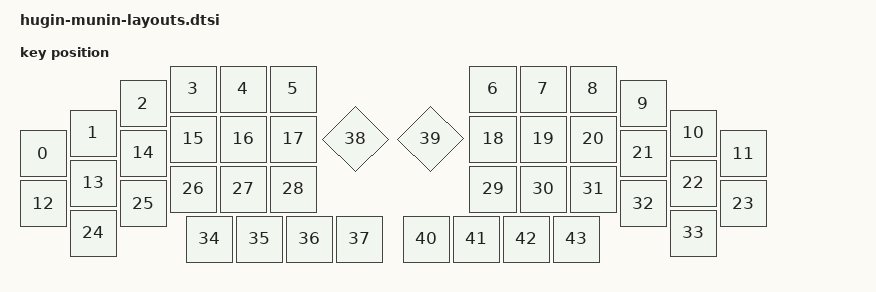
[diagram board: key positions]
#include <physical_layouts.dtsi>

/ {
    physical_layout0: physical_layout_0 {
        compatible = "zmk,physical-layout";
        display-name = "Default";

        kscan = <&kscan0>;
        transform = <&matrix_transform0>;

        keys  //                     w   h    x    y     rot    rx    ry
              // top row
            = <&key_physical_attrs 100 100    0    129       0     0     0>
            , <&key_physical_attrs 100 100  100    88       0     0     0>
            , <&key_physical_attrs 100 100  200    29       0     0     0>
            , <&key_physical_attrs 100 100  300    0       0     0     0>
            , <&key_physical_attrs 100 100  400    0       0     0     0>
            , <&key_physical_attrs 100 100  500    0       0     0     0>

            , <&key_physical_attrs 100 100  900    0       0     0     0> 
            , <&key_physical_attrs 100 100 1000    0       0     0     0>
            , <&key_physical_attrs 100 100 1100    0       0     0     0>
            , <&key_physical_attrs 100 100 1200    29       0     0     0>
            , <&key_physical_attrs 100 100 1300    88       0     0     0>
            , <&key_physical_attrs 100 100 1400    129       0     0     0>

              // home row
            , <&key_physical_attrs 100 100    0  229       0     0     0>
            , <&key_physical_attrs 100 100  100  188       0     0     0>
            , <&key_physical_attrs 100 100  200  128       0     0     0>
            , <&key_physical_attrs 100 100  300  100       0     0     0>
            , <&key_physical_attrs 100 100  400  100       0     0     0>
            , <&key_physical_attrs 100 100  500  100       0     0     0>

            , <&key_physical_attrs 100 100  900  100       0     0     0>
            , <&key_physical_attrs 100 100 1000  100       0     0     0>
            , <&key_physical_attrs 100 100 1100  100       0     0     0>
            , <&key_physical_attrs 100 100 1200  128       0     0     0>
            , <&key_physical_attrs 100 100 1300  188       0     0     0>
            , <&key_physical_attrs 100 100 1400  229       0     0     0>

              // bottom row
            //, <&key_physical_attrs 100 100    0  200       0     0     0>
            , <&key_physical_attrs 100 100  100  288       0     0     0>
            , <&key_physical_attrs 100 100  200  229       0     0     0>
            , <&key_physical_attrs 100 100  300  200       0     0     0>
            , <&key_physical_attrs 100 100  400  200       0     0     0>
            , <&key_physical_attrs 100 100  500  200       0     0     0>
            
            , <&key_physical_attrs 100 100  900  200       0     0     0>
            , <&key_physical_attrs 100 100 1000  200       0     0     0>
            , <&key_physical_attrs 100 100 1100  200       0     0     0>
            , <&key_physical_attrs 100 100 1200  229       0     0     0>
            , <&key_physical_attrs 100 100 1300  288       0     0     0>
            //, <&key_physical_attrs 100 100 1400  200       0     0     0>


            // thumb clusters
            , <&key_physical_attrs 100 100  333  300       0     0     0>
            , <&key_physical_attrs 100 100  433  300       0     0     0>
            , <&key_physical_attrs 100 100  533  300       0     0     0>
            , <&key_physical_attrs 100 100  633  300       0     0     0>
            , <&key_physical_attrs 100 100  625  100       4500     675     150> // encoder left

            , <&key_physical_attrs 100 100  775  100       (-4500)     825     150> // endoder right
            , <&key_physical_attrs 100 100 767  300       0     0     0>
            , <&key_physical_attrs 100 100 867  300       0     0     0>
            , <&key_physical_attrs 100 100 967  300       0     0     0>
            , <&key_physical_attrs 100 100 1067  300       0     0     0>
            ;
    };
};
